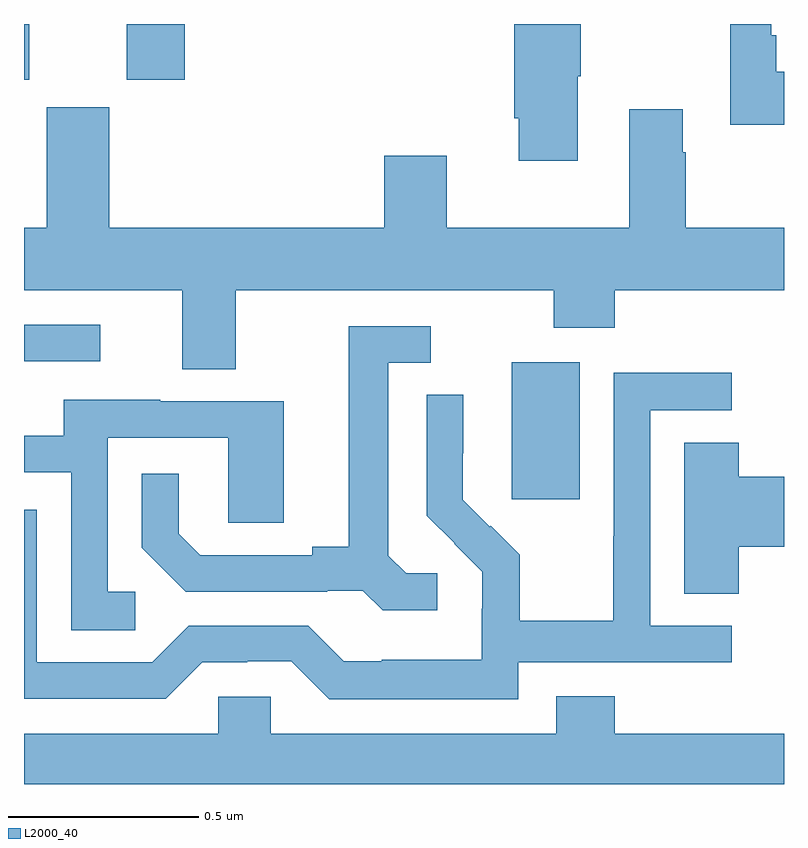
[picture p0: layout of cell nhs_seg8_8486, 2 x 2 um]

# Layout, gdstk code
import gdstk
lib = gdstk.Library(unit=1e-6, precision=1e-09)
def R(c, l, rs):  # rectangles x0, y0, x1, y1
    for r in rs: c.add(gdstk.rectangle(r[:2], r[2:], *l))
def P(c, l, *ps):  # polygons
    for p in ps: c.add(gdstk.Polygon(p, *l))
L2000_40 = (2000, 40)

nhs_seg8_8486 = lib.new_cell('nhs_seg8_8486')
R(nhs_seg8_8486, L2000_40, [(225.284,1082.649,225.463,1083.01), (224,1083.012,224.2,1083.108), (224,1083.753,224.014,1083.9), (224.27,1083.753,224.423,1083.9)])
P(nhs_seg8_8486, L2000_40, [(225.457,1083.763),(225.465,1083.763),(225.465,1083.9),(225.29,1083.9),(225.29,1083.652),(225.302,1083.652),(225.302,1083.54),(225.457,1083.54)],
  [(226,1083.775),(225.979,1083.775),(225.979,1083.871),(225.966,1083.871),(225.966,1083.9),(225.858,1083.9),(225.858,1083.635),(226,1083.635)],
  [(224.557,1083.2),(225.394,1083.2),(225.394,1083.101),(225.554,1083.101),(225.554,1083.2),(226,1083.2),(226,1083.364),(225.741,1083.364),(225.741,1083.563),(225.733,1083.563),(225.733,1083.676),(225.593,1083.676),(225.593,1083.364),(225.112,1083.364),(225.112,1083.553),(224.948,1083.553),(224.948,1083.364),(224.224,1083.364),(224.224,1083.681),(224.06,1083.681),(224.06,1083.364),(224,1083.364),(224,1083.2),(224.417,1083.2),(224.417,1082.992),(224.557,1082.992)],
  [(225.088,1082.454),(225.006,1082.454),(224.959,1082.501),(224.959,1083.009),(225.07,1083.009),(225.07,1083.105),(224.855,1083.105),(224.855,1082.525),(224.759,1082.525),(224.759,1082.502),(224.464,1082.502),(224.407,1082.559),(224.407,1082.716),(224.31,1082.716),(224.31,1082.522),(224.426,1082.406),(224.798,1082.406),(224.798,1082.409),(224.892,1082.409),(224.944,1082.357),(225.088,1082.357)],
  [(225.3,1082.22),(225.862,1082.22),(225.862,1082.316),(225.648,1082.316),(225.648,1082.883),(225.862,1082.883),(225.862,1082.982),(225.552,1082.982),(225.552,1082.552),(225.55,1082.552),(225.55,1082.329),(225.305,1082.329),(225.305,1082.503),(225.228,1082.58),(225.225,1082.577),(225.155,1082.648),(225.155,1082.77),(225.156,1082.77),(225.156,1082.924),(225.06,1082.924),(225.06,1082.606),(225.133,1082.533),(225.132,1082.532),(225.206,1082.458),(225.206,1082.361),(225.204,1082.361),(225.204,1082.227),(224.941,1082.227),(224.941,1082.223),(224.841,1082.223),(224.748,1082.316),(224.433,1082.316),(224.337,1082.22),(224.034,1082.22),(224.034,1082.622),(224,1082.622),(224,1082.124),(224.373,1082.124),(224.469,1082.22),(224.588,1082.22),(224.588,1082.223),(224.703,1082.223),(224.803,1082.123),(225.3,1082.123)],
  [(224.293,1082.406),(224.22,1082.406),(224.22,1082.811),(224.538,1082.811),(224.538,1082.587),(224.683,1082.587),(224.683,1082.907),(224.359,1082.907),(224.359,1082.911),(224.105,1082.911),(224.105,1082.817),(224,1082.817),(224,1082.721),(224.124,1082.721),(224.124,1082.305),(224.293,1082.305)],
  [(225.881,1082.525),(226,1082.525),(226,1082.708),(225.881,1082.708),(225.881,1082.798),(225.737,1082.798),(225.737,1082.401),(225.881,1082.401)],
  [(226,1082.032),(225.554,1082.032),(225.554,1082.131),(225.401,1082.131),(225.401,1082.032),(224.649,1082.032),(224.649,1082.13),(224.511,1082.13),(224.511,1082.032),(224,1082.032),(224,1081.9),(226,1081.9)])

lib.write_gds('nhs_seg8_8486.gds')
